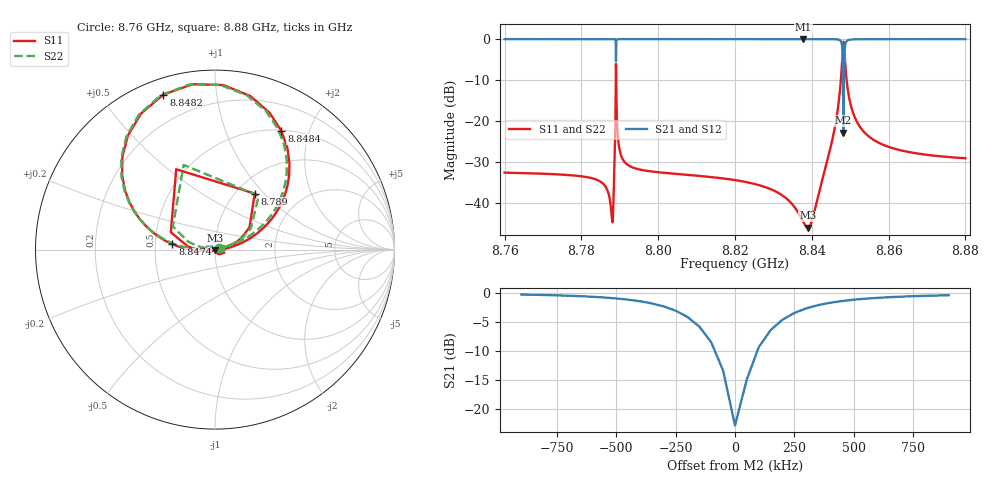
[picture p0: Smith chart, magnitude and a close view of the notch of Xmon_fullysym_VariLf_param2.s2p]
! Sonnet Data File
! From: emgraph Version : 16.52
! From Project: 171117_Xmon_fullysym
! Data is De-embedded
! Data File Written: 11/27/2017 00:27:55
!< HDATE 11/26/2017 21:47:59
!< MDATE 11/26/2017 21:47:59
!< PARAMS
!< Lj = 11.0
!< Gap = 1.0
!< Pwid = 2000.0
!< Airgap = 6.0
!< Width = 10.0
!< Lj1 = 10.64
!< END PARAMS
# GHZ S MA R 50.90000
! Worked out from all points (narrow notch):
!   2401 points, 8.76 GHz to 8.88 GHz, reference 50.9 ohm
!   highest |S21| = 0.00 dB at 8.8377 GHz (marker M1); lowest = -22.9 dB at 8.8483 GHz (marker M2)
!   notch at M2: 22.9 dB deep, 152 kHz wide at half that depth
!   lowest |S11| = -46.1 dB at 8.839 GHz (marker M3), VSWR 1.01, Z = 51 - j0.498 ohm
!   |S11| at or under -10 dB: start of sweep to 8.788964 GHz; 8.7891 GHz to 8.8476 GHz (58.5 MHz wide, 0.663 % of centre); 8.849059 GHz to end of sweep
!   |S22| runs from -45.9 to -0.6 dB; largest |S21 - S12| = 0
!   S11 on the Smith chart (normalised r, x): 8.76 GHz: 1.05, -0.00; 8.789 GHz: 1.21, +0.89; 8.8474 GHz: 0.62, +0.04; 8.8482 GHz: 0.07, +0.72; 8.8484 GHz: 0.51, +1.58; 8.88 GHz: 1.07, +0.00
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8.76  0.02322 -3.5  0.9997 -80.6  0.9997 -80.6  0.02322 22.3
!< P1 F=8.76 Eeff=(6.44841381 -2.9796e-5) Z0=(50.9085048 1.17026e-4) R=0.0 C=0.0
!< P2 F=8.76 Eeff=(6.44841381 -2.9796e-5) Z0=(50.9085048 1.17026e-4) R=0.0 C=0.0
8.78  0.02094 -5.5  0.9998 -81.0  0.9998 -81.0  0.02095 23.6
8.78575  0.01683 -10.0  0.9998 -81.3  0.9998 -81.3  0.01686 27.7
8.7878  0.007658 -39.5  0.9997 -81.9  0.9997 -81.9  0.008071 58.1
8.7882  0.006547 -111.8  0.9994 -82.4  0.9994 -82.4  0.007564 122.3
8.78905  0.3825 54.7  0.7775 -61.7  0.7775 -61.7  0.3865 50.9
8.79155  0.03026 0.5  0.9995 -80.5  0.9995 -80.5  0.03028 18.7
8.8  0.02349 -3.5  0.9997 -81.0  0.9997 -81.0  0.02349 21.5
8.82  0.01882 -7.2  0.9998 -81.5  0.9998 -81.5  0.01883 24.4
8.83165  0.01282 -15.2  0.9999 -81.9  0.9999 -81.9  0.01284 31.5
8.83775  0.005825 -51.0  0.9999 -82.5  0.9999 -82.5  0.0059 66.5
8.83895  0.004929 -82.9  0.9999 -82.7  0.9999 -82.7  0.005041 97.5
8.84  0.005962 -117.9  0.9999 -82.9  0.9999 -82.9  0.006079 131.4
8.8454  0.06036 -172.5  0.9976 -86.2  0.9976 -86.2  0.06046 179.1
8.84735  0.2393 172.7  0.9655 -96.6  0.9655 -96.6  0.2395 171.5
8.8482  0.9102 108.4  0.2131 -142.3  0.2131 -142.3  0.9109 109.4
8.84825  0.9299 97.7  0.07184 -96.0  0.07184 -96.0  0.9306 98.8
8.84845  0.7576 60.8  0.5858 -33.8  0.5858 -33.8  0.7581 62.3
8.84895  0.3554 28.2  0.9259 -61.9  0.9259 -61.9  0.3557 30.8
8.85165  0.09943 9.7  0.9946 -77.1  0.9946 -77.1  0.09947 16.6
8.86  0.048 3.4  0.9988 -80.1  0.9988 -80.1  0.04801 16.5
8.88  0.03478 0.1  0.9994 -81.1  0.9994 -81.1  0.03478 17.8
